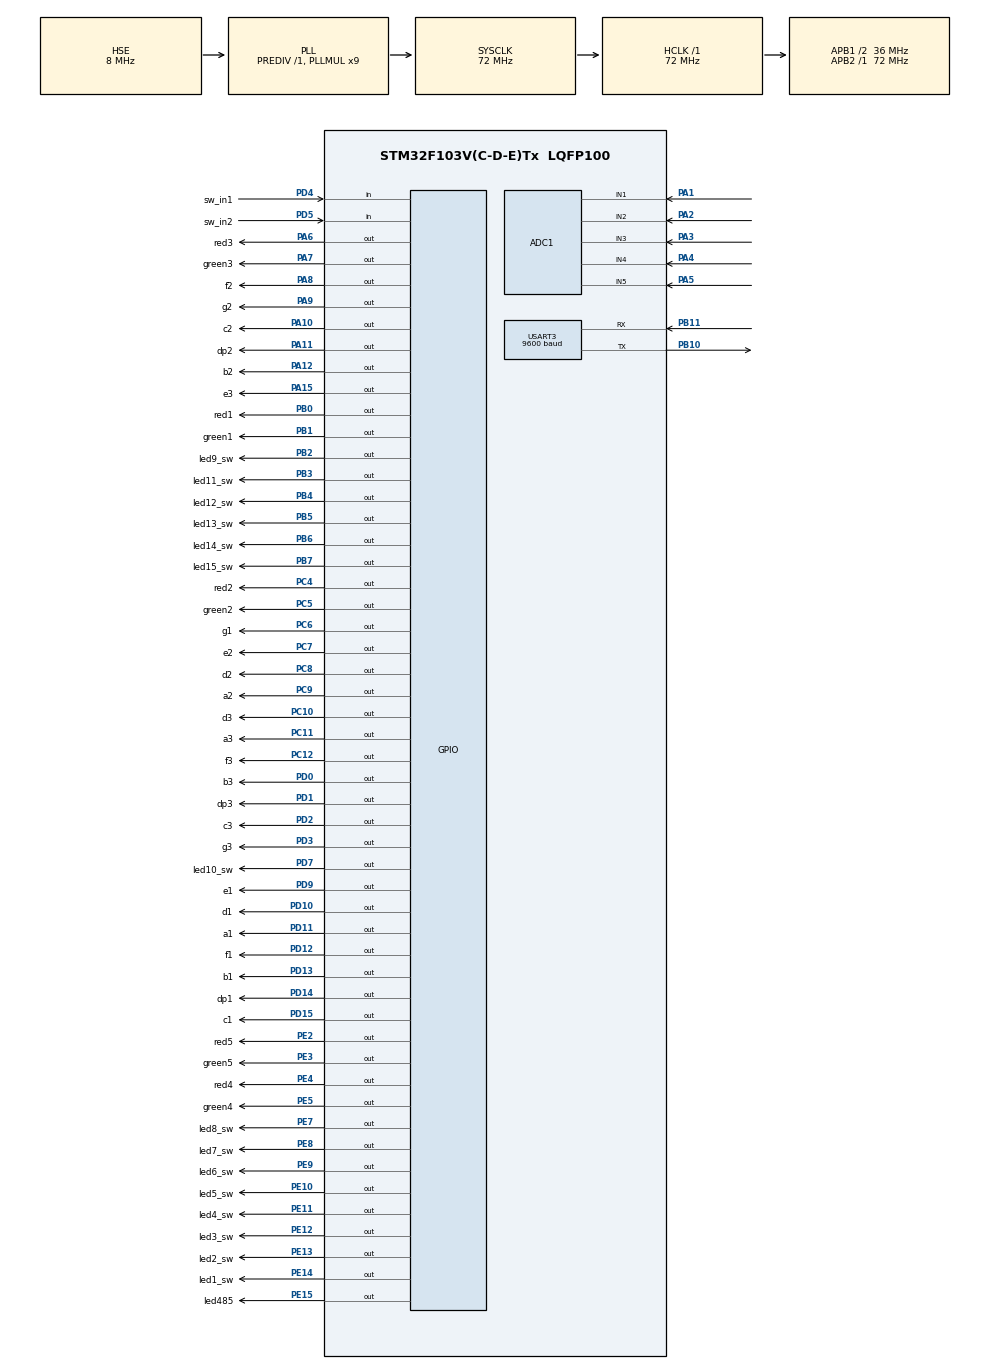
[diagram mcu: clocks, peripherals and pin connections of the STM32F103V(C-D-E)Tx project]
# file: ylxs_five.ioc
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ADC1.Channel-0\#ChannelRegularConversion=ADC_CHANNEL_1
ADC1.Channel-1\#ChannelRegularConversion=ADC_CHANNEL_2
ADC1.Channel-2\#ChannelRegularConversion=ADC_CHANNEL_3
ADC1.Channel-3\#ChannelRegularConversion=ADC_CHANNEL_4
ADC1.Channel-4\#ChannelRegularConversion=ADC_CHANNEL_5
ADC1.ContinuousConvMode=ENABLE
ADC1.NbrOfConversion=5
ADC1.NbrOfConversionFlag=1
ADC1.Rank-0\#ChannelRegularConversion=1
ADC1.Rank-1\#ChannelRegularConversion=2
ADC1.Rank-2\#ChannelRegularConversion=3
ADC1.Rank-3\#ChannelRegularConversion=4
ADC1.Rank-4\#ChannelRegularConversion=5
ADC1.SamplingTime-0\#ChannelRegularConversion=ADC_SAMPLETIME_55CYCLES_5
ADC1.SamplingTime-1\#ChannelRegularConversion=ADC_SAMPLETIME_55CYCLES_5
ADC1.SamplingTime-2\#ChannelRegularConversion=ADC_SAMPLETIME_55CYCLES_5
ADC1.SamplingTime-3\#ChannelRegularConversion=ADC_SAMPLETIME_55CYCLES_5
ADC1.SamplingTime-4\#ChannelRegularConversion=ADC_SAMPLETIME_55CYCLES_5
ADC1.master=1
Dma.ADC1.2.Direction=DMA_PERIPH_TO_MEMORY
Dma.ADC1.2.Instance=DMA1_Channel1
Dma.ADC1.2.MemDataAlignment=DMA_MDATAALIGN_HALFWORD
Dma.ADC1.2.MemInc=DMA_MINC_ENABLE
Dma.ADC1.2.Mode=DMA_CIRCULAR
Dma.ADC1.2.PeriphDataAlignment=DMA_PDATAALIGN_HALFWORD
Dma.ADC1.2.PeriphInc=DMA_PINC_DISABLE
Dma.ADC1.2.Priority=DMA_PRIORITY_LOW
Dma.Request0=USART3_RX
Dma.Request1=USART3_TX
Dma.Request2=ADC1
Dma.USART3_RX.0.Direction=DMA_PERIPH_TO_MEMORY
Dma.USART3_RX.0.Instance=DMA1_Channel3
Dma.USART3_RX.0.MemDataAlignment=DMA_MDATAALIGN_BYTE
Dma.USART3_RX.0.MemInc=DMA_MINC_ENABLE
Dma.USART3_RX.0.Mode=DMA_NORMAL
Dma.USART3_RX.0.PeriphDataAlignment=DMA_PDATAALIGN_BYTE
Dma.USART3_RX.0.PeriphInc=DMA_PINC_DISABLE
Dma.USART3_RX.0.Priority=DMA_PRIORITY_LOW
Dma.USART3_TX.1.Direction=DMA_MEMORY_TO_PERIPH
Dma.USART3_TX.1.Instance=DMA1_Channel2
Dma.USART3_TX.1.MemDataAlignment=DMA_MDATAALIGN_BYTE
Dma.USART3_TX.1.MemInc=DMA_MINC_ENABLE
Dma.USART3_TX.1.Mode=DMA_NORMAL
Dma.USART3_TX.1.PeriphDataAlignment=DMA_PDATAALIGN_BYTE
Dma.USART3_TX.1.PeriphInc=DMA_PINC_DISABLE
Dma.USART3_TX.1.Priority=DMA_PRIORITY_LOW
FREERTOS.Tasks01=TaskDisplay1,0,128,StartTaskDisplay1,Default,NULL,Dynamic,NULL,NULL;TaskDisplay2,0,128,StartTaskDisplay2,Default,NULL,Dynamic,NULL,NULL;TaskDisplay3,0,128,StartTaskDisplay3,Default,NULL,Dynamic,NULL,NULL;TaskCollectData,0,128,StartTaskCollectData,Default,NULL,Dynamic,NULL,NULL;TaskModbus,0,128,StartTaskModbus,Default,NULL,Dynamic,NULL,NULL
FREERTOS.configTOTAL_HEAP_SIZE=4096
Mcu.Family=STM32F1
Mcu.Name=STM32F103V(C-D-E)Tx
Mcu.Package=LQFP100
NVIC.DMA1_Channel1_IRQn=true\:5\:0\:false\:false\:true\:true\:false\:true
NVIC.DMA1_Channel2_IRQn=true\:5\:0\:false\:false\:true\:true\:false\:true
NVIC.DMA1_Channel3_IRQn=true\:5\:0\:false\:false\:true\:true\:false\:true
NVIC.PriorityGroup=NVIC_PRIORITYGROUP_4
NVIC.TIM4_IRQn=true\:0\:0\:false\:false\:true\:false\:false\:true
NVIC.TimeBase=TIM4_IRQn
NVIC.TimeBaseIP=TIM4
NVIC.USART3_IRQn=true\:5\:0\:false\:false\:true\:true\:true\:true
OSC_IN.Mode=HSE-External-Oscillator
OSC_IN.Signal=RCC_OSC_IN
OSC_OUT.Mode=HSE-External-Oscillator
OSC_OUT.Signal=RCC_OSC_OUT
PA1.Signal=ADCx_IN1
PA10.GPIO_Label=c2
PA10.GPIO_ModeDefaultOutputPP=GPIO_MODE_OUTPUT_PP
PA10.GPIO_Speed=GPIO_SPEED_FREQ_HIGH
PA10.PinState=GPIO_PIN_RESET
PA10.Signal=GPIO_Output
PA11.GPIO_Label=dp2
PA11.GPIO_ModeDefaultOutputPP=GPIO_MODE_OUTPUT_PP
PA11.GPIO_Speed=GPIO_SPEED_FREQ_HIGH
PA11.PinState=GPIO_PIN_RESET
PA11.Signal=GPIO_Output
PA12.GPIO_Label=b2
PA12.Signal=GPIO_Output
PA13.Mode=Serial_Wire
PA13.Signal=SYS_JTMS-SWDIO
PA14.Mode=Serial_Wire
PA14.Signal=SYS_JTCK-SWCLK
PA15.GPIO_Label=e3
PA15.GPIO_ModeDefaultOutputPP=GPIO_MODE_OUTPUT_PP
PA15.GPIO_Speed=GPIO_SPEED_FREQ_HIGH
PA15.PinState=GPIO_PIN_RESET
PA15.Signal=GPIO_Output
PA2.Signal=ADCx_IN2
PA3.Signal=ADCx_IN3
PA4.Signal=ADCx_IN4
PA5.Signal=ADCx_IN5
PA6.GPIO_Label=red3
PA6.PinState=GPIO_PIN_SET
PA6.Signal=GPIO_Output
PA7.GPIO_Label=green3
PA7.PinState=GPIO_PIN_SET
PA7.Signal=GPIO_Output
PA8.GPIO_Label=f2
PA8.GPIO_ModeDefaultOutputPP=GPIO_MODE_OUTPUT_PP
PA8.GPIO_Speed=GPIO_SPEED_FREQ_HIGH
PA8.PinState=GPIO_PIN_RESET
PA8.Signal=GPIO_Output
PA9.GPIO_Label=g2
PA9.GPIO_ModeDefaultOutputPP=GPIO_MODE_OUTPUT_PP
PA9.GPIO_Speed=GPIO_SPEED_FREQ_HIGH
PA9.PinState=GPIO_PIN_RESET
PA9.Signal=GPIO_Output
PB0.GPIO_Label=red1
PB0.PinState=GPIO_PIN_SET
PB0.Signal=GPIO_Output
PB1.GPIO_Label=green1
PB1.PinState=GPIO_PIN_SET
PB1.Signal=GPIO_Output
PB10.Mode=Asynchronous
PB10.Signal=USART3_TX
PB11.Mode=Asynchronous
PB11.Signal=USART3_RX
PB2.GPIO_Label=led9_sw
PB2.GPIO_Speed=GPIO_SPEED_FREQ_HIGH
PB2.PinState=GPIO_PIN_RESET
PB2.Signal=GPIO_Output
PB3.GPIO_Label=led11_sw
PB3.GPIO_Speed=GPIO_SPEED_FREQ_HIGH
PB3.PinState=GPIO_PIN_RESET
PB3.Signal=GPIO_Output
PB4.GPIO_Label=led12_sw
PB4.GPIO_Speed=GPIO_SPEED_FREQ_HIGH
PB4.PinState=GPIO_PIN_RESET
PB4.Signal=GPIO_Output
PB5.GPIO_Label=led13_sw
PB5.GPIO_Speed=GPIO_SPEED_FREQ_HIGH
PB5.PinState=GPIO_PIN_RESET
PB5.Signal=GPIO_Output
PB6.GPIO_Label=led14_sw
PB6.GPIO_Speed=GPIO_SPEED_FREQ_HIGH
PB6.PinState=GPIO_PIN_RESET
PB6.Signal=GPIO_Output
PB7.GPIO_Label=led15_sw
PB7.GPIO_Speed=GPIO_SPEED_FREQ_HIGH
PB7.PinState=GPIO_PIN_RESET
PB7.Signal=GPIO_Output
PC10.GPIO_Label=d3
PC10.GPIO_ModeDefaultOutputPP=GPIO_MODE_OUTPUT_PP
PC10.GPIO_Speed=GPIO_SPEED_FREQ_HIGH
PC10.PinState=GPIO_PIN_RESET
PC10.Signal=GPIO_Output
PC11.GPIO_Label=a3
PC11.Signal=GPIO_Output
PC12.GPIO_Label=f3
PC12.GPIO_ModeDefaultOutputPP=GPIO_MODE_OUTPUT_PP
PC12.GPIO_Speed=GPIO_SPEED_FREQ_HIGH
PC12.PinState=GPIO_PIN_RESET
PC12.Signal=GPIO_Output
PC4.GPIO_Label=red2
PC4.PinState=GPIO_PIN_SET
PC4.Signal=GPIO_Output
PC5.GPIO_Label=green2
PC5.PinState=GPIO_PIN_SET
PC5.Signal=GPIO_Output
PC6.GPIO_Label=g1
PC6.GPIO_ModeDefaultOutputPP=GPIO_MODE_OUTPUT_PP
PC6.GPIO_Speed=GPIO_SPEED_FREQ_HIGH
PC6.PinState=GPIO_PIN_RESET
PC6.Signal=GPIO_Output
PC7.GPIO_Label=e2
PC7.GPIO_ModeDefaultOutputPP=GPIO_MODE_OUTPUT_PP
PC7.GPIO_Speed=GPIO_SPEED_FREQ_HIGH
PC7.PinState=GPIO_PIN_RESET
PC7.Signal=GPIO_Output
PC8.GPIO_Label=d2
PC8.GPIO_ModeDefaultOutputPP=GPIO_MODE_OUTPUT_PP
PC8.GPIO_Speed=GPIO_SPEED_FREQ_HIGH
PC8.PinState=GPIO_PIN_RESET
PC8.Signal=GPIO_Output
PC9.GPIO_Label=a2
PC9.Signal=GPIO_Output
PD0.GPIO_Label=b3
PD0.Signal=GPIO_Output
PD1.GPIO_Label=dp3
PD1.GPIO_ModeDefaultOutputPP=GPIO_MODE_OUTPUT_PP
PD1.GPIO_Speed=GPIO_SPEED_FREQ_HIGH
PD1.PinState=GPIO_PIN_RESET
PD1.Signal=GPIO_Output
PD10.GPIO_Label=d1
PD10.GPIO_ModeDefaultOutputPP=GPIO_MODE_OUTPUT_PP
PD10.GPIO_Speed=GPIO_SPEED_FREQ_HIGH
PD10.PinState=GPIO_PIN_RESET
PD10.Signal=GPIO_Output
PD11.GPIO_Label=a1
PD11.Signal=GPIO_Output
PD12.GPIO_Label=f1
PD12.GPIO_ModeDefaultOutputPP=GPIO_MODE_OUTPUT_PP
PD12.GPIO_Speed=GPIO_SPEED_FREQ_HIGH
PD12.PinState=GPIO_PIN_RESET
PD12.Signal=GPIO_Output
PD13.GPIO_Label=b1
PD13.Signal=GPIO_Output
PD14.GPIO_Label=dp1
PD14.GPIO_ModeDefaultOutputPP=GPIO_MODE_OUTPUT_PP
PD14.GPIO_Speed=GPIO_SPEED_FREQ_HIGH
PD14.PinState=GPIO_PIN_RESET
PD14.Signal=GPIO_Output
PD15.GPIO_Label=c1
PD15.Signal=GPIO_Output
PD2.GPIO_Label=c3
PD2.GPIO_ModeDefaultOutputPP=GPIO_MODE_OUTPUT_PP
PD2.GPIO_Speed=GPIO_SPEED_FREQ_HIGH
PD2.PinState=GPIO_PIN_RESET
PD2.Signal=GPIO_Output
PD3.GPIO_Label=g3
PD3.GPIO_ModeDefaultOutputPP=GPIO_MODE_OUTPUT_PP
PD3.GPIO_Speed=GPIO_SPEED_FREQ_HIGH
PD3.PinState=GPIO_PIN_RESET
PD3.Signal=GPIO_Output
PD4.GPIO_Label=sw_in1
PD4.GPIO_Mode=GPIO_MODE_INPUT
PD4.GPIO_PuPd=GPIO_PULLUP
PD4.Signal=GPIO_Input
PD5.GPIO_Label=sw_in2
PD5.GPIO_Mode=GPIO_MODE_INPUT
PD5.GPIO_PuPd=GPIO_PULLUP
PD5.Signal=GPIO_Input
PD7.GPIO_Label=led10_sw
PD7.GPIO_Speed=GPIO_SPEED_FREQ_HIGH
PD7.PinState=GPIO_PIN_RESET
PD7.Signal=GPIO_Output
PD9.GPIO_Label=e1
PD9.GPIO_ModeDefaultOutputPP=GPIO_MODE_OUTPUT_PP
PD9.GPIO_Speed=GPIO_SPEED_FREQ_HIGH
PD9.PinState=GPIO_PIN_RESET
PD9.Signal=GPIO_Output
PE10.GPIO_Label=led5_sw
PE10.GPIO_Speed=GPIO_SPEED_FREQ_HIGH
PE10.PinState=GPIO_PIN_RESET
PE10.Signal=GPIO_Output
PE11.GPIO_Label=led4_sw
PE11.GPIO_Speed=GPIO_SPEED_FREQ_HIGH
PE11.PinState=GPIO_PIN_RESET
PE11.Signal=GPIO_Output
PE12.GPIO_Label=led3_sw
PE12.GPIO_Speed=GPIO_SPEED_FREQ_HIGH
PE12.PinState=GPIO_PIN_RESET
PE12.Signal=GPIO_Output
PE13.GPIO_Label=led2_sw
PE13.GPIO_Speed=GPIO_SPEED_FREQ_HIGH
PE13.PinState=GPIO_PIN_RESET
PE13.Signal=GPIO_Output
PE14.GPIO_Label=led1_sw
PE14.GPIO_Speed=GPIO_SPEED_FREQ_HIGH
PE14.PinState=GPIO_PIN_RESET
PE14.Signal=GPIO_Output
PE15.GPIO_Label=led485
PE15.GPIO_Speed=GPIO_SPEED_FREQ_HIGH
PE15.PinState=GPIO_PIN_SET
PE15.Signal=GPIO_Output
PE2.GPIO_Label=red5
PE2.PinState=GPIO_PIN_SET
PE2.Signal=GPIO_Output
PE3.GPIO_Label=green5
PE3.PinState=GPIO_PIN_SET
PE3.Signal=GPIO_Output
PE4.GPIO_Label=red4
PE4.PinState=GPIO_PIN_SET
PE4.Signal=GPIO_Output
PE5.GPIO_Label=green4
PE5.PinState=GPIO_PIN_SET
PE5.Signal=GPIO_Output
PE7.GPIO_Label=led8_sw
PE7.GPIO_Speed=GPIO_SPEED_FREQ_HIGH
PE7.PinState=GPIO_PIN_RESET
PE7.Signal=GPIO_Output
PE8.GPIO_Label=led7_sw
PE8.GPIO_Speed=GPIO_SPEED_FREQ_HIGH
PE8.PinState=GPIO_PIN_RESET
PE8.Signal=GPIO_Output
PE9.GPIO_Label=led6_sw
PE9.GPIO_Speed=GPIO_SPEED_FREQ_HIGH
PE9.PinState=GPIO_PIN_RESET
PE9.Signal=GPIO_Output
ProjectManager.HeapSize=0x200
ProjectManager.StackSize=0x400
ProjectManager.TargetToolchain=Other Toolchains (GPDSC)
RCC.ADCPresc=RCC_ADCPCLK2_DIV6
RCC.AHBFreq_Value=72000000
RCC.APB1CLKDivider=RCC_HCLK_DIV2
RCC.APB1Freq_Value=36000000
RCC.APB1TimFreq_Value=72000000
RCC.APB2Freq_Value=72000000
RCC.APB2TimFreq_Value=72000000
RCC.HCLKFreq_Value=72000000
RCC.PLLMUL=RCC_PLL_MUL9
RCC.PLLSourceVirtual=RCC_PLLSOURCE_HSE
RCC.SYSCLKFreq_VALUE=72000000
RCC.SYSCLKSource=RCC_SYSCLKSOURCE_PLLCLK
RCC.USBFreq_Value=72000000
SH.ADCx_IN1.0=ADC1_IN1,IN1
SH.ADCx_IN2.0=ADC1_IN2,IN2
SH.ADCx_IN3.0=ADC1_IN3,IN3
SH.ADCx_IN4.0=ADC1_IN4,IN4
SH.ADCx_IN5.0=ADC1_IN5,IN5
USART3.BaudRate=9600
USART3.VirtualMode=VM_ASYNC
VP_FREERTOS_VS_CMSIS_V1.Mode=CMSIS_V1
VP_IWDG_VS_IWDG.Mode=IWDG_Activate
VP_SYS_VS_tim4.Mode=TIM4
board=custom

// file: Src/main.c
/* USER CODE BEGIN Header */
/**
  ******************************************************************************
  * @file           : main.c
  * @brief          : Main program body
  ******************************************************************************
  * @attention
  *
  * <h2><center>&copy; Copyright (c) 2020 STMicroelectronics.
  * All rights reserved.</center></h2>
  *
  * This software component is licensed by ST under BSD 3-Clause license,
  * the "License"; You may not use this file except in compliance with the
  * License. You may obtain a copy of the License at:
  *                        opensource.org/licenses/BSD-3-Clause
  *
  ******************************************************************************
  */
/* USER CODE END Header */

#include "main.h"
#include "cmsis_os.h"
#include "adc.h"
#include "dma.h"
#include "iwdg.h"
#include "usart.h"
#include "gpio.h"

/* USER CODE BEGIN Includes */

#include "bsp_adc.h"

/* USER CODE END Includes */

void SystemClock_Config(void);
void MX_FREERTOS_Init(void);

int main(void)
{

  /* MCU Configuration--------------------------------------------------------*/

  /* Reset of all peripherals, Initializes the Flash interface and the Systick. */
  HAL_Init();

  /* Configure the system clock */
  SystemClock_Config();

  /* Initialize all configured peripherals */
  MX_GPIO_Init();
  MX_DMA_Init();
  MX_ADC1_Init();
  MX_USART3_UART_Init();
  MX_IWDG_Init();
  /* USER CODE BEGIN 2 */

  HAL_ADCEx_Calibration_Start(&hadc1);
  HAL_ADC_Start_DMA(&hadc1, (uint32_t *)ADC_ConvertedValue, 5);

  /* USER CODE END 2 */

  /* Call init function for freertos objects (in freertos.c) */
  MX_FREERTOS_Init();
  /* Start scheduler */
  osKernelStart();

  /* We should never get here as control is now taken by the scheduler */
  /* Infinite loop */
  while (1)
  {

  }
}

void SystemClock_Config(void)
{
  RCC_OscInitTypeDef RCC_OscInitStruct = {0};
  RCC_ClkInitTypeDef RCC_ClkInitStruct = {0};
  RCC_PeriphCLKInitTypeDef PeriphClkInit = {0};

  /** Initializes the CPU, AHB and APB busses clocks
  */
  RCC_OscInitStruct.OscillatorType = RCC_OSCILLATORTYPE_LSI|RCC_OSCILLATORTYPE_HSE;
  RCC_OscInitStruct.HSEState = RCC_HSE_ON;
  RCC_OscInitStruct.HSEPredivValue = RCC_HSE_PREDIV_DIV1;
  RCC_OscInitStruct.HSIState = RCC_HSI_ON;
  RCC_OscInitStruct.LSIState = RCC_LSI_ON;
  RCC_OscInitStruct.PLL.PLLState = RCC_PLL_ON;
  RCC_OscInitStruct.PLL.PLLSource = RCC_PLLSOURCE_HSE;
  RCC_OscInitStruct.PLL.PLLMUL = RCC_PLL_MUL9;
  if (HAL_RCC_OscConfig(&RCC_OscInitStruct) != HAL_OK)
  {
    Error_Handler();
  }
  /** Initializes the CPU, AHB and APB busses clocks
  */
  RCC_ClkInitStruct.ClockType = RCC_CLOCKTYPE_HCLK|RCC_CLOCKTYPE_SYSCLK
                              |RCC_CLOCKTYPE_PCLK1|RCC_CLOCKTYPE_PCLK2;
  RCC_ClkInitStruct.SYSCLKSource = RCC_SYSCLKSOURCE_PLLCLK;
  RCC_ClkInitStruct.AHBCLKDivider = RCC_SYSCLK_DIV1;
  RCC_ClkInitStruct.APB1CLKDivider = RCC_HCLK_DIV2;
  RCC_ClkInitStruct.APB2CLKDivider = RCC_HCLK_DIV1;

  if (HAL_RCC_ClockConfig(&RCC_ClkInitStruct, FLASH_LATENCY_2) != HAL_OK)
  {
    Error_Handler();
  }
  PeriphClkInit.PeriphClockSelection = RCC_PERIPHCLK_ADC;
  PeriphClkInit.AdcClockSelection = RCC_ADCPCLK2_DIV6;
  if (HAL_RCCEx_PeriphCLKConfig(&PeriphClkInit) != HAL_OK)
  {
    Error_Handler();
  }
}

 /**
  * @brief  Period elapsed callback in non blocking mode
  * @note   This function is called  when TIM4 interrupt took place, inside
  * HAL_TIM_IRQHandler(). It makes a direct call to HAL_IncTick() to increment
  * a global variable "uwTick" used as application time base.
  * @param  htim : TIM handle
  * @retval None
  */
void HAL_TIM_PeriodElapsedCallback(TIM_HandleTypeDef *htim)
{
  if (htim->Instance == TIM4) {
    HAL_IncTick();
  }
}

void Error_Handler(void)
{
}

/************************ (C) COPYRIGHT STMicroelectronics *****END OF FILE****/

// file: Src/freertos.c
/* USER CODE BEGIN Header */
/**
  ******************************************************************************
  * File Name          : freertos.c
  * Description        : Code for freertos applications
  ******************************************************************************
  * @attention
  *
  * <h2><center>&copy; Copyright (c) 2020 STMicroelectronics.
  * All rights reserved.</center></h2>
  *
  * This software component is licensed by ST under Ultimate Liberty license
  * SLA0044, the "License"; You may not use this file except in compliance with
  * the License. You may obtain a copy of the License at:
  *                             www.st.com/SLA0044
  *
  ******************************************************************************
  */
/* USER CODE END Header */

#include "FreeRTOS.h"
#include "task.h"
#include "main.h"
#include "cmsis_os.h"

/* USER CODE BEGIN Includes */

#include "bsp_adc.h"
#include "bsp_digitalTube.h"
#include "iwdg.h"

/* USER CODE END Includes */

osThreadId TaskDisplay1Handle;
osThreadId TaskDisplay2Handle;
osThreadId TaskDisplay3Handle;
osThreadId TaskCollectDataHandle;
osThreadId TaskModbusHandle;

/* USER CODE BEGIN FunctionPrototypes */

static void dataProcess(void);

/* USER CODE END FunctionPrototypes */

void StartTaskDisplay1(void const * argument);
void StartTaskDisplay2(void const * argument);
void StartTaskDisplay3(void const * argument);
void StartTaskCollectData(void const * argument);
void StartTaskModbus(void const * argument);

void MX_FREERTOS_Init(void); /* (MISRA C 2004 rule 8.1) */

/* GetIdleTaskMemory prototype (linked to static allocation support) */
void vApplicationGetIdleTaskMemory( StaticTask_t **ppxIdleTaskTCBBuffer, StackType_t **ppxIdleTaskStackBuffer, uint32_t *pulIdleTaskStackSize );

/* USER CODE BEGIN GET_IDLE_TASK_MEMORY */
static StaticTask_t xIdleTaskTCBBuffer;
static StackType_t xIdleStack[configMINIMAL_STACK_SIZE];

void vApplicationGetIdleTaskMemory( StaticTask_t **ppxIdleTaskTCBBuffer, StackType_t **ppxIdleTaskStackBuffer, uint32_t *pulIdleTaskStackSize )
{
  *ppxIdleTaskTCBBuffer = &xIdleTaskTCBBuffer;
  *ppxIdleTaskStackBuffer = &xIdleStack[0];
  *pulIdleTaskStackSize = configMINIMAL_STACK_SIZE;
  /* place for user code */
}
/* USER CODE END GET_IDLE_TASK_MEMORY */

void MX_FREERTOS_Init(void) {

  /* Create the thread(s) */
  /* definition and creation of TaskDisplay1 */
  osThreadDef(TaskDisplay1, StartTaskDisplay1, osPriorityNormal, 0, 128);
  TaskDisplay1Handle = osThreadCreate(osThread(TaskDisplay1), NULL);

  /* definition and creation of TaskDisplay2 */
  osThreadDef(TaskDisplay2, StartTaskDisplay2, osPriorityNormal, 0, 128);
  TaskDisplay2Handle = osThreadCreate(osThread(TaskDisplay2), NULL);

  /* definition and creation of TaskDisplay3 */
  osThreadDef(TaskDisplay3, StartTaskDisplay3, osPriorityNormal, 0, 128);
  TaskDisplay3Handle = osThreadCreate(osThread(TaskDisplay3), NULL);

  /* definition and creation of TaskCollectData */
  osThreadDef(TaskCollectData, StartTaskCollectData, osPriorityNormal, 0, 128);
  TaskCollectDataHandle = osThreadCreate(osThread(TaskCollectData), NULL);

  /* definition and creation of TaskModbus */
  osThreadDef(TaskModbus, StartTaskModbus, osPriorityNormal, 0, 128);
  TaskModbusHandle = osThreadCreate(osThread(TaskModbus), NULL);

}

void StartTaskDisplay1(void const * argument)
{
  /* USER CODE BEGIN StartTaskDisplay1 */
  /* Infinite loop */
  for(;;)
  {
	digitalTubeDisplay(1, gasData[4]);
	digitalTubeDisplay(2, gasData[3]);

  }
  /* USER CODE END StartTaskDisplay1 */
}

void StartTaskDisplay2(void const * argument)
{
  /* USER CODE BEGIN StartTaskDisplay2 */
  /* Infinite loop */
  for(;;)
  {
	  led3Close();
	  digitalTubeDisplay(3, gasData[2]);
  }
  /* USER CODE END StartTaskDisplay2 */
}

void StartTaskDisplay3(void const * argument)
{
  /* USER CODE BEGIN StartTaskDisplay3 */
  /* Infinite loop */
  for(;;)
  {
	  digitalTubeDisplay(4, gasData[1]);
	  digitalTubeDisplay(5, gasData[0]);
  }
  /* USER CODE END StartTaskDisplay3 */
}

void StartTaskCollectData(void const * argument)
{
  /* USER CODE BEGIN StartTaskCollectData */
  /* Infinite loop */
  for(;;)
  {
	dataProcess();
    osDelay(100);
	HAL_IWDG_Refresh(&hiwdg);
  }
  /* USER CODE END StartTaskCollectData */
}

void StartTaskModbus(void const * argument)
{
  /* USER CODE BEGIN StartTaskModbus */
  /* Infinite loop */
  for(;;)
  {
    osDelay(10);
  }
  /* USER CODE END StartTaskModbus */
}

/* USER CODE BEGIN Application */

static void dataProcess()
{

	uint8_t temp1 = HAL_GPIO_ReadPin(sw_in1_GPIO_Port, sw_in1_Pin);
	uint8_t temp2 = HAL_GPIO_ReadPin(sw_in2_GPIO_Port, sw_in2_Pin);
	uint8_t temp = (temp1 << 1) + temp2;

	/*
		拨码		量程
		11		-50/+50
		10		0/+50
		01		-100/+100
		00		0/+100
	*/

	gasCollect();

	switch (temp)
	{
	case 0:
		for (size_t i = 0; i < 5; i++)
		{
			gasData[i] = gasDataOriginal[i] / 10;
		}
		break;
	case 1:
		for (size_t i = 0; i < 5; i++)
		{
			gasData[i] = gasDataOriginal[i] / 5 - 100;
		}
		break;
	case 2:
		for (size_t i = 0; i < 5; i++)
		{
			gasData[i] = gasDataOriginal[i] / 20;
		}
		break;
	case 3:
		for (size_t i = 0; i < 5; i++)
		{
			gasData[i] = gasDataOriginal[i] / 10 - 50;
		}
		break;
	default:
		break;
	}

	if (gasDataOriginal[4] > 900)
	{
		HAL_GPIO_WritePin(red1_GPIO_Port, red1_Pin, GPIO_PIN_RESET);
		HAL_GPIO_WritePin(green1_GPIO_Port, green1_Pin, GPIO_PIN_SET);
	}
	else {
		HAL_GPIO_WritePin(red1_GPIO_Port, red1_Pin, GPIO_PIN_SET);
		HAL_GPIO_WritePin(green1_GPIO_Port, green1_Pin, GPIO_PIN_RESET);
	}

	if (gasDataOriginal[3] > 900)
	{
		HAL_GPIO_WritePin(red2_GPIO_Port, red2_Pin, GPIO_PIN_RESET);
		HAL_GPIO_WritePin(green2_GPIO_Port, green2_Pin, GPIO_PIN_SET);
	}
	else {
		HAL_GPIO_WritePin(red2_GPIO_Port, red2_Pin, GPIO_PIN_SET);
		HAL_GPIO_WritePin(green2_GPIO_Port, green2_Pin, GPIO_PIN_RESET);
	}

	if (gasDataOriginal[2] > 900)
	{
		HAL_GPIO_WritePin(red3_GPIO_Port, red3_Pin, GPIO_PIN_RESET);
		HAL_GPIO_WritePin(green3_GPIO_Port, green3_Pin, GPIO_PIN_SET);
	}
	else {
		HAL_GPIO_WritePin(red3_GPIO_Port, red3_Pin, GPIO_PIN_SET);
		HAL_GPIO_WritePin(green3_GPIO_Port, green3_Pin, GPIO_PIN_RESET);
	}

	if (gasDataOriginal[1] > 900)
	{
		HAL_GPIO_WritePin(red4_GPIO_Port, red4_Pin, GPIO_PIN_RESET);
		HAL_GPIO_WritePin(green4_GPIO_Port, green4_Pin, GPIO_PIN_SET);
	}
	else {
		HAL_GPIO_WritePin(red4_GPIO_Port, red4_Pin, GPIO_PIN_SET);
		HAL_GPIO_WritePin(green4_GPIO_Port, green4_Pin, GPIO_PIN_RESET);
	}

	if (gasDataOriginal[0] > 900)
	{
		HAL_GPIO_WritePin(red5_GPIO_Port, red5_Pin, GPIO_PIN_RESET);
		HAL_GPIO_WritePin(green5_GPIO_Port, green5_Pin, GPIO_PIN_SET);
	}
	else {
		HAL_GPIO_WritePin(red5_GPIO_Port, red5_Pin, GPIO_PIN_SET);
		HAL_GPIO_WritePin(green5_GPIO_Port, green5_Pin, GPIO_PIN_RESET);
	}
}

/* USER CODE END Application */

/************************ (C) COPYRIGHT STMicroelectronics *****END OF FILE****/
